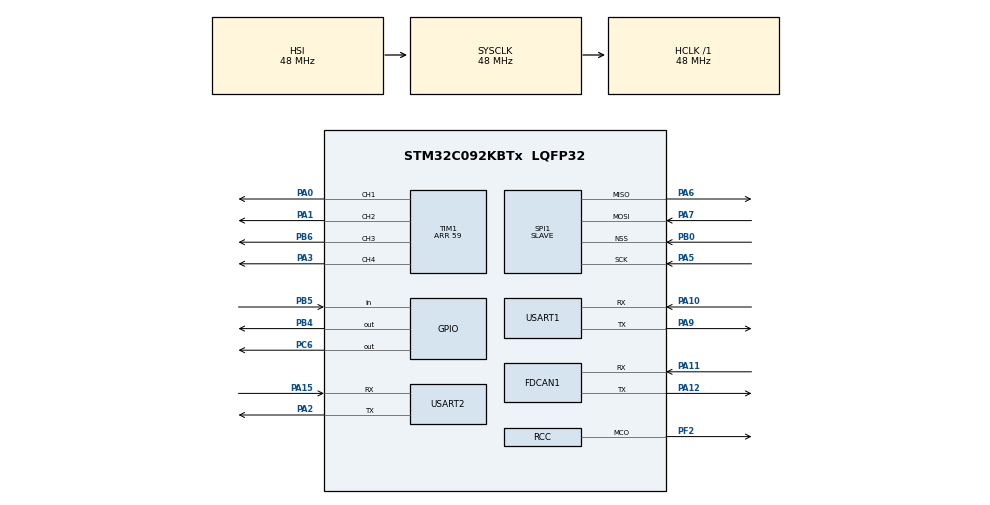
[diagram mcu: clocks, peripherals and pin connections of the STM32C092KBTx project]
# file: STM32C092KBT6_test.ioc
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Dma.Request0=TIM1_CH1
Dma.Request1=TIM1_CH2
Dma.Request2=TIM1_CH3
Dma.Request3=TIM1_CH4
Dma.Request4=TIM1_UP
Dma.TIM1_CH1.0.Direction=DMA_MEMORY_TO_PERIPH
Dma.TIM1_CH1.0.EventEnable=DISABLE
Dma.TIM1_CH1.0.Instance=DMA1_Channel1
Dma.TIM1_CH1.0.MemDataAlignment=DMA_MDATAALIGN_HALFWORD
Dma.TIM1_CH1.0.MemInc=DMA_MINC_ENABLE
Dma.TIM1_CH1.0.Mode=DMA_NORMAL
Dma.TIM1_CH1.0.PeriphDataAlignment=DMA_PDATAALIGN_HALFWORD
Dma.TIM1_CH1.0.PeriphInc=DMA_PINC_DISABLE
Dma.TIM1_CH1.0.Polarity=HAL_DMAMUX_REQ_GEN_RISING
Dma.TIM1_CH1.0.Priority=DMA_PRIORITY_HIGH
Dma.TIM1_CH1.0.RequestNumber=1
Dma.TIM1_CH1.0.SignalID=NONE
Dma.TIM1_CH1.0.SyncEnable=DISABLE
Dma.TIM1_CH1.0.SyncPolarity=HAL_DMAMUX_SYNC_NO_EVENT
Dma.TIM1_CH1.0.SyncRequestNumber=1
Dma.TIM1_CH1.0.SyncSignalID=NONE
Dma.TIM1_CH2.1.Direction=DMA_MEMORY_TO_PERIPH
Dma.TIM1_CH2.1.EventEnable=DISABLE
Dma.TIM1_CH2.1.Instance=DMA1_Channel2
Dma.TIM1_CH2.1.MemDataAlignment=DMA_MDATAALIGN_HALFWORD
Dma.TIM1_CH2.1.MemInc=DMA_MINC_ENABLE
Dma.TIM1_CH2.1.Mode=DMA_NORMAL
Dma.TIM1_CH2.1.PeriphDataAlignment=DMA_PDATAALIGN_HALFWORD
Dma.TIM1_CH2.1.PeriphInc=DMA_PINC_DISABLE
Dma.TIM1_CH2.1.Polarity=HAL_DMAMUX_REQ_GEN_RISING
Dma.TIM1_CH2.1.Priority=DMA_PRIORITY_HIGH
Dma.TIM1_CH2.1.RequestNumber=1
Dma.TIM1_CH2.1.SignalID=NONE
Dma.TIM1_CH2.1.SyncEnable=DISABLE
Dma.TIM1_CH2.1.SyncPolarity=HAL_DMAMUX_SYNC_NO_EVENT
Dma.TIM1_CH2.1.SyncRequestNumber=1
Dma.TIM1_CH2.1.SyncSignalID=NONE
Dma.TIM1_CH3.2.Direction=DMA_MEMORY_TO_PERIPH
Dma.TIM1_CH3.2.EventEnable=DISABLE
Dma.TIM1_CH3.2.Instance=DMA1_Channel3
Dma.TIM1_CH3.2.MemDataAlignment=DMA_MDATAALIGN_HALFWORD
Dma.TIM1_CH3.2.MemInc=DMA_MINC_ENABLE
Dma.TIM1_CH3.2.Mode=DMA_NORMAL
Dma.TIM1_CH3.2.PeriphDataAlignment=DMA_PDATAALIGN_HALFWORD
Dma.TIM1_CH3.2.PeriphInc=DMA_PINC_DISABLE
Dma.TIM1_CH3.2.Polarity=HAL_DMAMUX_REQ_GEN_RISING
Dma.TIM1_CH3.2.Priority=DMA_PRIORITY_HIGH
Dma.TIM1_CH3.2.RequestNumber=1
Dma.TIM1_CH3.2.SignalID=NONE
Dma.TIM1_CH3.2.SyncEnable=DISABLE
Dma.TIM1_CH3.2.SyncPolarity=HAL_DMAMUX_SYNC_NO_EVENT
Dma.TIM1_CH3.2.SyncRequestNumber=1
Dma.TIM1_CH3.2.SyncSignalID=NONE
Dma.TIM1_CH4.3.Direction=DMA_MEMORY_TO_PERIPH
Dma.TIM1_CH4.3.EventEnable=DISABLE
Dma.TIM1_CH4.3.Instance=DMA1_Channel4
Dma.TIM1_CH4.3.MemDataAlignment=DMA_MDATAALIGN_HALFWORD
Dma.TIM1_CH4.3.MemInc=DMA_MINC_ENABLE
Dma.TIM1_CH4.3.Mode=DMA_NORMAL
Dma.TIM1_CH4.3.PeriphDataAlignment=DMA_PDATAALIGN_HALFWORD
Dma.TIM1_CH4.3.PeriphInc=DMA_PINC_DISABLE
Dma.TIM1_CH4.3.Polarity=HAL_DMAMUX_REQ_GEN_RISING
Dma.TIM1_CH4.3.Priority=DMA_PRIORITY_HIGH
Dma.TIM1_CH4.3.RequestNumber=1
Dma.TIM1_CH4.3.SignalID=NONE
Dma.TIM1_CH4.3.SyncEnable=DISABLE
Dma.TIM1_CH4.3.SyncPolarity=HAL_DMAMUX_SYNC_NO_EVENT
Dma.TIM1_CH4.3.SyncRequestNumber=1
Dma.TIM1_CH4.3.SyncSignalID=NONE
Dma.TIM1_UP.4.Direction=DMA_MEMORY_TO_PERIPH
Dma.TIM1_UP.4.EventEnable=DISABLE
Dma.TIM1_UP.4.Instance=DMA1_Channel5
Dma.TIM1_UP.4.MemDataAlignment=DMA_MDATAALIGN_HALFWORD
Dma.TIM1_UP.4.MemInc=DMA_MINC_ENABLE
Dma.TIM1_UP.4.Mode=DMA_NORMAL
Dma.TIM1_UP.4.PeriphDataAlignment=DMA_PDATAALIGN_HALFWORD
Dma.TIM1_UP.4.PeriphInc=DMA_PINC_DISABLE
Dma.TIM1_UP.4.Polarity=HAL_DMAMUX_REQ_GEN_RISING
Dma.TIM1_UP.4.Priority=DMA_PRIORITY_HIGH
Dma.TIM1_UP.4.RequestNumber=1
Dma.TIM1_UP.4.SignalID=NONE
Dma.TIM1_UP.4.SyncEnable=DISABLE
Dma.TIM1_UP.4.SyncPolarity=HAL_DMAMUX_SYNC_NO_EVENT
Dma.TIM1_UP.4.SyncRequestNumber=1
Dma.TIM1_UP.4.SyncSignalID=NONE
FDCAN1.CalculateBaudRateNominal=1000000
FDCAN1.CalculateTimeQuantumNominal=333.3333333333333
Mcu.Family=STM32C0
Mcu.Name=STM32C092KBTx
Mcu.Package=LQFP32
NVIC.DMA1_Channel1_IRQn=true\:0\:0\:false\:false\:true\:false\:true\:true
NVIC.DMA1_Channel2_3_IRQn=true\:0\:0\:false\:false\:true\:false\:true\:true
NVIC.DMAMUX1_DMA1_CH4_5_6_7_IRQn=true\:0\:0\:false\:false\:true\:false\:true\:true
NVIC.TIM14_IRQn=true\:0\:0\:false\:false\:true\:true\:true\:true
NVIC.USART1_IRQn=true\:0\:0\:false\:false\:true\:true\:true\:true
NVIC.USART2_IRQn=true\:0\:0\:false\:false\:true\:true\:true\:true
PA0.Signal=S_TIM1_CH1
PA1.Signal=S_TIM1_CH2
PA10.Mode=Asynchronous
PA10.Signal=USART1_RX
PA11\ [PA9].Mode=FDCAN_Activate
PA11\ [PA9].Signal=FDCAN1_RX
PA12\ [PA10].Mode=FDCAN_Activate
PA12\ [PA10].Signal=FDCAN1_TX
PA13.Mode=Serial_Wire
PA13.Signal=DEBUG_SWDIO
PA14-BOOT0.Mode=Serial_Wire
PA14-BOOT0.Signal=DEBUG_SWCLK
PA15.Mode=Asynchronous
PA15.Signal=USART2_RX
PA2.Mode=Asynchronous
PA2.Signal=USART2_TX
PA3.Signal=S_TIM1_CH4
PA5.Mode=Full_Duplex_Slave
PA5.Signal=SPI1_SCK
PA6.Mode=Full_Duplex_Slave
PA6.Signal=SPI1_MISO
PA7.Mode=Full_Duplex_Slave
PA7.Signal=SPI1_MOSI
PA9.Mode=Asynchronous
PA9.Signal=USART1_TX
PB0.Mode=NSS_Signal_Hard_Input
PB0.Signal=SPI1_NSS
PB4.Signal=GPIO_Output
PB5.Signal=GPIO_Input
PB6.Signal=S_TIM1_CH3
PC14-OSCX_IN(PC14).Signal=RCC_OSCX_IN
PC15-OSCX_OUT(PC15).Signal=RCC_OSCX_OUT
PC6.Signal=GPIO_Output
PF2-NRST.Mode=Clock-out
PF2-NRST.Signal=RCC_MCO
ProjectManager.HeapSize=0x200
ProjectManager.StackSize=0x400
ProjectManager.TargetToolchain=CMake
RCC.ADCFreq_Value=48000000
RCC.AHBFreq_Value=48000000
RCC.CortexFreq_Value=48000000
RCC.EXTERNAL_CLOCK_VALUE=12288000
RCC.HCLKFreq_Value=48000000
RCC.HSE_VALUE=8000000
RCC.HSISYSCLKDivider=RCC_HSI_DIV1
RCC.HSI_VALUE=48000000
RCC.LSE_VALUE=32768
RCC.SYSCLKFreq_VALUE=48000000
SH.S_TIM1_CH1.0=TIM1_CH1,PWM Generation1 CH1
SH.S_TIM1_CH2.0=TIM1_CH2,PWM Generation2 CH2
SH.S_TIM1_CH3.0=TIM1_CH3,PWM Generation3 CH3
SH.S_TIM1_CH4.0=TIM1_CH4,PWM Generation4 CH4
SPI1.Direction=SPI_DIRECTION_2LINES
SPI1.Mode=SPI_MODE_SLAVE
SPI1.VirtualNSS=VM_NSSHARD
SPI1.VirtualType=VM_SLAVE
TIM1.AutoReloadPreload=TIM_AUTORELOAD_PRELOAD_DISABLE
TIM1.Channel-PWM\ Generation1\ CH1=TIM_CHANNEL_1
TIM1.Channel-PWM\ Generation2\ CH2=TIM_CHANNEL_2
TIM1.Channel-PWM\ Generation3\ CH3=TIM_CHANNEL_3
TIM1.Channel-PWM\ Generation4\ CH4=TIM_CHANNEL_4
TIM1.Period=59
TIM14.AutoReloadPreload=TIM_AUTORELOAD_PRELOAD_DISABLE
TIM14.Period=999
TIM14.Prescaler=47
USART1.VirtualMode-Asynchronous=VM_ASYNC
USART2.VirtualMode-Asynchronous=VM_ASYNC
VP_DMAMUX_VS_DMAMUX.Mode=DMAMUX_Activate
VP_TIM14_VS_ClockSourceINT.Mode=Enable_Timer
VP_TIM1_VS_ClockSourceINT.Mode=Internal
board=custom

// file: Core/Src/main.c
/* USER CODE BEGIN Header */
/**
  ******************************************************************************
  * @file           : main.c
  * @brief          : Main program body
  ******************************************************************************
  * @attention
  *
  * Copyright (c) 2026 STMicroelectronics.
  * All rights reserved.
  *
  * This software is licensed under terms that can be found in the LICENSE file
  * in the root directory of this software component.
  * If no LICENSE file comes with this software, it is provided AS-IS.
  *
  ******************************************************************************
  */
/* USER CODE END Header */
#include "main.h"
#include "dma.h"
#include "dmamux.h"
#include "fdcan.h"
#include "spi.h"
#include "tim.h"
#include "usart.h"
#include "gpio.h"

/* USER CODE BEGIN Includes */
#include <stdio.h>
#include "SPM_Modbus.h"
/* USER CODE END Includes */

/* USER CODE BEGIN PTD */
#define WS_ZERO   18
#define WS_ONE    34
/* USER CODE END PTD */

/* USER CODE BEGIN PD */
#define LED_MAX     32
#define RESET_SLOTS 120
#define WS_BITS     24
#define PWM_CH_COUNT 4
/* Keep TIM1 outputs low for 30 us before the first LED data slot. */
#define WS_START_GUARD_SLOTS WS_BITS
#define WS_SLOT_COUNT (LED_MAX * WS_BITS + WS_START_GUARD_SLOTS + RESET_SLOTS)
/* USER CODE END PD */

/* USER CODE BEGIN PV */
//デバイス定義
int16_t model_no = 51;
int16_t version = 1;
int16_t sub_version = 0;

//シリアルデータ
typedef struct {
  int16_t rx_len;
  uint8_t recv_data;
  uint8_t rx_buf[256];
  uint8_t tx_buf[256];
} SerialData;
SerialData serial1;
SerialData serial2;

//LED制御用変数
uint16_t pwmData[WS_SLOT_COUNT];
uint16_t pwmDmaBurstData[WS_SLOT_COUNT * PWM_CH_COUNT];
volatile uint8_t ws2812_send_requested = 0U;
//パターン点灯用変数
volatile int16_t ten_ms_timer = 0; // 10msごとのタイマー
int16_t pattern_step = 0; //パターン点灯のステップ数
uint8_t pattern_red = 0; // 徐々に赤の値
uint8_t pattern_green = 0; // 徐々に緑の値
uint8_t pattern_blue = 0; // 徐々に青の値
int8_t flame_variation[LED_MAX] = {0};
uint32_t flame_random_state = 0x13579BDFU;

//アプリケーション変数
int16_t dev_id=51; //デバイスID
//LEDのRGBデータ 1チャンネルで最大32個までのLEDを制御可能
//一つのLEDは8bit×24bitのデータが必要だが、レジスタは16bitなので、2つのレジスタに分けて格納する
// ledData[0] = LED1_R, LED1_G
// ledData[1] = LED1_B, LED2_R
// ledData[2] = LED2_G, LED2_B
// ...
int16_t ledData[48]; // LEDのRGBデータ
int16_t mode = 0; //動作モード　0:レジスタより点灯, 1:全LED同時点灯, 2~5:パターン点灯モード
int16_t brightness_lim = 16; //明るさの上限
int16_t led_num = 16; //LEDの数
int16_t safety_mode = 0; //セーフティモード… 0:無効, 1:有効　有効の時は強制的に赤に点灯
int16_t safety_flg = 0; //セーフティモード時の赤の明るさ
int16_t safety_r = 16; //セーフティモード時の赤の明るさ
int16_t enable_input = 0; //イネーブル信号入力

/* USER CODE END PV */

void SystemClock_Config(void);
/* USER CODE BEGIN PFP */
static HAL_StatusTypeDef WS2812_StartSend(void);
uint8_t limit_max(uint8_t value, uint8_t max);

/* USER CODE END PFP */

/* USER CODE BEGIN 0 */
void WS2812_SetLED(uint8_t led,uint8_t r,uint8_t g,uint8_t b)
{
    uint32_t color;

    r = limit_max(r, brightness_lim);
    g = limit_max(g, brightness_lim);
    b = limit_max(b, brightness_lim);

    color =
        ((uint32_t)g << 16) |
        ((uint32_t)r << 8 ) |
         b;

    int index = WS_START_GUARD_SLOTS + led * WS_BITS;

    for(int i=0;i<24;i++)
    {
        if(color & (1<<(23-i)))
            pwmData[index+i]=WS_ONE;
        else
            pwmData[index+i]=WS_ZERO;
    }
}

void WS2812_Reset(void)
{
    /* Keep the output low while TIM1 and its Update DMA settle. */
    for (int i = 0; i < WS_START_GUARD_SLOTS; i++)
    {
        pwmData[i] = 0;
    }

    int reset_start = WS_START_GUARD_SLOTS + led_num * WS_BITS;
    for(int i=reset_start;
        i<reset_start+RESET_SLOTS;
        i++)
    {
        pwmData[i]=0;
    }
}

static void WS2812_PrepareBurstData(uint16_t slot_count)
{
    for (uint16_t slot = 0; slot < slot_count; slot++)
    {
        uint16_t index = slot * PWM_CH_COUNT;
        uint16_t duty = pwmData[slot];

        pwmDmaBurstData[index + 0U] = duty;
        pwmDmaBurstData[index + 1U] = duty;
        pwmDmaBurstData[index + 2U] = duty;
        pwmDmaBurstData[index + 3U] = duty;
    }
}

static HAL_StatusTypeDef WS2812_StartSend(void)
{
    const uint16_t slot_count =
        (uint16_t)(WS_START_GUARD_SLOTS + led_num * WS_BITS + RESET_SLOTS);
    const uint32_t all_channels =
        TIM_CCER_CC1E | TIM_CCER_CC2E | TIM_CCER_CC3E | TIM_CCER_CC4E;

    if ((led_num < 1) || (led_num > LED_MAX))
    {
        return HAL_ERROR;
    }

    WS2812_Reset();
    WS2812_PrepareBurstData(slot_count);

    __HAL_TIM_DISABLE_DMA(&htim1, TIM_DMA_UPDATE);
    TIM1->CR1 &= ~TIM_CR1_CEN;
    TIM1->CCER &= ~all_channels;
    __HAL_TIM_MOE_DISABLE_UNCONDITIONALLY(&htim1);

    if (htim1.DMABurstState == HAL_DMA_BURST_STATE_BUSY)
    {
        if (HAL_TIM_DMABurst_WriteStop(&htim1, TIM_DMA_UPDATE) != HAL_OK)
        {
            return HAL_ERROR;
        }
    }

    __HAL_TIM_ENABLE_OCxPRELOAD(&htim1, TIM_CHANNEL_1);
    __HAL_TIM_ENABLE_OCxPRELOAD(&htim1, TIM_CHANNEL_2);
    __HAL_TIM_ENABLE_OCxPRELOAD(&htim1, TIM_CHANNEL_3);
    __HAL_TIM_ENABLE_OCxPRELOAD(&htim1, TIM_CHANNEL_4);

    __HAL_TIM_SET_COMPARE(&htim1, TIM_CHANNEL_1, pwmDmaBurstData[0]);
    __HAL_TIM_SET_COMPARE(&htim1, TIM_CHANNEL_2, pwmDmaBurstData[1]);
    __HAL_TIM_SET_COMPARE(&htim1, TIM_CHANNEL_3, pwmDmaBurstData[2]);
    __HAL_TIM_SET_COMPARE(&htim1, TIM_CHANNEL_4, pwmDmaBurstData[3]);
    if (HAL_TIM_GenerateEvent(&htim1, TIM_EVENTSOURCE_UPDATE) != HAL_OK)
    {
        return HAL_ERROR;
    }

    __HAL_TIM_SET_COMPARE(&htim1, TIM_CHANNEL_1, pwmDmaBurstData[4]);
    __HAL_TIM_SET_COMPARE(&htim1, TIM_CHANNEL_2, pwmDmaBurstData[5]);
    __HAL_TIM_SET_COMPARE(&htim1, TIM_CHANNEL_3, pwmDmaBurstData[6]);
    __HAL_TIM_SET_COMPARE(&htim1, TIM_CHANNEL_4, pwmDmaBurstData[7]);

    if (HAL_TIM_DMABurst_MultiWriteStart(
            &htim1,
            TIM_DMABASE_CCR1,
            TIM_DMA_UPDATE,
            (uint32_t *)&pwmDmaBurstData[2U * PWM_CH_COUNT],
            TIM_DMABURSTLENGTH_4TRANSFERS,
            (uint32_t)(slot_count - 2U) * PWM_CH_COUNT) != HAL_OK)
    {
        return HAL_ERROR;
    }

    __HAL_TIM_CLEAR_FLAG(&htim1, TIM_FLAG_UPDATE);
    TIM1->CNT = 0U;
    TIM1->CCER |= all_channels;
    __HAL_TIM_MOE_ENABLE(&htim1);
    __HAL_TIM_ENABLE(&htim1);

    return HAL_OK;
}

//LED明るさ制限
uint8_t limit_max(uint8_t value, uint8_t max)
{
    if(value > max)
        return max;
    return value;
}

static uint8_t flame_random(void)
{
    flame_random_state ^= flame_random_state << 13;
    flame_random_state ^= flame_random_state >> 17;
    flame_random_state ^= flame_random_state << 5;
    return (uint8_t)(flame_random_state & 0xFFU);
}

/* USER CODE END 0 */

int main(void)
{

  /* MCU Configuration--------------------------------------------------------*/

  /* Reset of all peripherals, Initializes the Flash interface and the Systick. */
  HAL_Init();

  /* Configure the system clock */
  SystemClock_Config();

  /* Initialize all configured peripherals */
  MX_GPIO_Init();
  MX_DMA_Init();
  MX_FDCAN1_Init();
  MX_USART1_UART_Init();
  MX_TIM1_Init();
  MX_SPI1_Init();
  MX_USART2_UART_Init();
  MX_TIM14_Init();
  MX_DMAMUX_Init();
  /* USER CODE BEGIN 2 */

  //各レジスタ初期化
  SPM_ModbusInit();
  //レジスタ登録
  p_input_regs[0] = &model_no;   //モデルナンバー
  p_input_regs[1] = &version; //バージョン
  p_input_regs[2] = &sub_version; //サブバージョン
  for(int i=3;i<51;i++)
  {
      p_input_regs[i] = &ledData[i-3];
  }
  p_input_regs[51] = &safety_flg;
  p_input_regs[52] = &enable_input;

  p_holding_regs[0] = &dev_id;
  for(int i=1;i<49;i++)
  {
      p_holding_regs[i] = &ledData[i-1];
  }
  p_holding_regs[49] = &mode;
  p_holding_regs[50] = &brightness_lim;
  p_holding_regs[51] = &led_num;
  p_holding_regs[52] = &safety_mode;
  p_holding_regs[53] = &safety_flg;
  p_holding_regs[54] = &safety_r;

  //Cyclic Function登録
  // cycfunc0.rx_len = 2;
  // cycfunc0.rx_adr[0] = &io_in;
  // cycfunc0.rx_adr[1] = &io_out;
  // cycfunc0.tx_len = 1;
  // cycfunc0.tx_adr[0] = &io_out;

  ParamLoad();
  SPM_ModbusSetAddress(dev_id);
  if ((led_num < 1) || (led_num > LED_MAX)) led_num = LED_MAX;

  HAL_UART_Receive_IT(&huart1, &serial1.recv_data, 1);
  HAL_UART_Receive_IT(&huart2, &serial2.recv_data, 1);

  HAL_TIM_Base_Start_IT(&htim14); // Start TIM14 for periodic interrupts
  HAL_GPIO_WritePin(GPIOB, GPIO_PIN_4, GPIO_PIN_RESET); // LED ON

  //ledData初期化
  for(int i=0;i<(int)(sizeof(ledData) / sizeof(ledData[0]));i++)
  {
      ledData[i] = 0;
  }

  /* NeoPixel data send first so CAN init errors do not mask LED bring-up */
  //すべてのLEDを白にセット
  for(int i=0;i<led_num;i++)
  {
      WS2812_SetLED(i,16,16,16); //白
  }

  if (WS2812_StartSend() != HAL_OK)
  {
    Error_Handler();
  }

  HAL_Delay(500); // 1秒待機

  //再度消灯
  for(int i=0;i<led_num;i++)
  {
      WS2812_SetLED(i,0,0,0); //消灯
  }
  if (WS2812_StartSend() != HAL_OK)
  {
    Error_Handler();
  }

  HAL_Delay(500); // 1秒待機

  //ledデータ初期化
  for(int i=0;i<led_num;i++)
  {
      WS2812_SetLED(i,0,0,0); //消灯
  }
  if (WS2812_StartSend() != HAL_OK)
  {
    Error_Handler();
  }

  //FDCAN1 filter configuration
  // FDCAN_FilterTypeDef sFilterConfig;
  // sFilterConfig.IdType = FDCAN_STANDARD_ID;
  // sFilterConfig.FilterIndex = 0;
  // sFilterConfig.FilterType = FDCAN_FILTER_MASK;
  // sFilterConfig.FilterConfig = FDCAN_FILTER_TO_RXFIFO0;
  // sFilterConfig.FilterID1 = 0x123; // Standard ID is configured as-is (no manual bit shift)
  // sFilterConfig.FilterID2 = 0x7FF; // Filter mask (accept all IDs)
  // if (HAL_FDCAN_ConfigFilter(&hfdcan1, &sFilterConfig) != HAL_OK)
  // {
  //   TxDataLength = sprintf((char*)TxData, "FDCAN Filter Configuration Error\r\n");
  //   HAL_UART_Transmit(&huart1, TxData, TxDataLength, HAL_MAX_DELAY);
  //   // Filter configuration Error
  //   Error_Handler();
  // }else{

  //   TxDataLength = sprintf((char*)TxData, "FDCAN Filter Configuration Success\r\n");
  //   HAL_UART_Transmit(&huart1, TxData, TxDataLength, HAL_MAX_DELAY);
  // }

  // // Start FDCAN module
  // if (HAL_FDCAN_Start(&hfdcan1) != HAL_OK)
  // {
  //   TxDataLength = sprintf((char*)TxData, "FDCAN Start Error\r\n");
  //   HAL_UART_Transmit(&huart1, TxData, TxDataLength, HAL_MAX_DELAY);
  //   // Start Error
  //   Error_Handler();
  // }else{
  //   TxDataLength = sprintf((char*)TxData, "FDCAN Start Success\r\n");
  //   HAL_UART_Transmit(&huart1, TxData, TxDataLength, HAL_MAX_DELAY);
  // }

  /* USER CODE END 2 */

  /* Infinite loop */
  /* USER CODE BEGIN WHILE */
  while (1)
  {
    // //FDCAN送信
    // FDCAN_TxHeaderTypeDef TxHeader = {0};
    // uint8_t CanTxData[8] = {0x01, 0x02, 0x03, 0x04, 0x05, 0x06, 0x07, counter++}; // 送信データ
    // TxHeader.Identifier = 0x143; // 送信するID
    // TxHeader.IdType = FDCAN_STANDARD_ID;
    // TxHeader.TxFrameType = FDCAN_DATA_FRAME;
    // TxHeader.DataLength = FDCAN_DLC_BYTES_8;
    // TxHeader.ErrorStateIndicator = FDCAN_ESI_ACTIVE;
    // TxHeader.BitRateSwitch = FDCAN_BRS_OFF;
    // TxHeader.FDFormat = FDCAN_CLASSIC_CAN;
    // TxHeader.TxEventFifoControl = FDCAN_NO_TX_EVENTS;
    // TxHeader.MessageMarker = 0;
    // if (HAL_FDCAN_AddMessageToTxFifoQ(&hfdcan1, &TxHeader, CanTxData) != HAL_OK)
    // {
    //   // Transmission request Error
    //   TxDataLength = sprintf((char*)TxData, "FDCAN Transmission Error\r\n");
    //   HAL_UART_Transmit(&huart1, TxData, TxDataLength, HAL_MAX_DELAY);
    //   Error_Handler();
    // }else{
    //   TxDataLength = sprintf((char*)TxData, "FDCAN Transmission Success\r\n");
    //   HAL_UART_Transmit(&huart1, TxData, TxDataLength, HAL_MAX_DELAY);
    // }

    //シリアル通信処理
		  if(serial1.rx_len>0){
			  HAL_Delay(10);
			  int16_t tx_len = SPM_ModbusTask(serial1.rx_buf, serial1.rx_len, serial1.tx_buf);
			  HAL_UART_Transmit_IT(&huart1, serial1.tx_buf, tx_len);
			  serial1.rx_len=0;
		  }

		  if(serial2.rx_len>0){
			  HAL_Delay(10);
			  int16_t tx_len = SPM_ModbusTask(serial2.rx_buf, serial2.rx_len, serial2.tx_buf);
			  HAL_UART_Transmit_IT(&huart2, serial2.tx_buf, tx_len);
			  serial2.rx_len=0;
		  }

    //イネーブル信号確認
    enable_input = HAL_GPIO_ReadPin(GPIOB, GPIO_PIN_5); // イネーブル信号の状態を読み取る
    if(enable_input==1)
    {
        // イネーブル信号が有効な場合の処理をここに記述
        safety_flg = 1; // 安全モードを有効にする
    }

    if(safety_mode && safety_flg)
    {
        // 安全モード時の処理をここに記述
        // 全LED赤に点灯
        for(int i=0;i<led_num;i++)
        {
          WS2812_SetLED(i,safety_r,0,0); // 赤
        }
    }else{
        // 安全モードでない場合の処理をここに記述
        switch(mode){
          case 0:
              // モード0…レジスタから点灯モード
              uint8_t r[32];
              uint8_t g[32];
              uint8_t b[32];
              int r_index = 0;
              int g_index = 0;
              int b_index = 0;
              for(int i=0;i<48;i++){
                  if(i%3==0){
                      r[r_index] = (uint8_t)(ledData[i] >> 8);
                      g[g_index] = (uint8_t)(ledData[i] & 0xFF);
                      r_index++;
                      g_index++;
                  }else if(i%3==1){
                      b[b_index] = (uint8_t)(ledData[i] >> 8);
                      r[r_index] = (uint8_t)(ledData[i] & 0xFF);
                      b_index++;
                      r_index++;
                  }else if(i%3==2){
                      g[g_index] = (uint8_t)(ledData[i] >> 8);
                      b[b_index] = (uint8_t)(ledData[i] & 0xFF);
                      g_index++;
                      b_index++;
                  }
              }
              //LEDの色をNeoPixelに送信
              for(int i=0;i<led_num;i++)
              {
                  WS2812_SetLED(i,r[i],g[i],b[i]);
              }
              break;
          case 1:
              // モード1…固定色点灯モード
              uint8_t fixed_r = ledData[0] >> 8;
              uint8_t fixed_g = ledData[0] & 0xFF;
              uint8_t fixed_b = ledData[1] >> 8;
              for(int i=0;i<led_num;i++)
              {
                  WS2812_SetLED(i,fixed_r,fixed_g,fixed_b);
              }
              break;
          case 2:
              // モード2…パターン点灯モード1
              // 全LEDを同じ色で点灯
              //赤→黄色→緑→シアン→青→マゼンタ→赤の順で点灯させるパターン
              //各色の切り替わりの時は徐々に明るさを変えるようにする
              switch(pattern_step){
                  case 0:
                      // 徐々にマゼンタから赤へ R=MAX G=0 B=DOWN
                      pattern_red = brightness_lim;
                      pattern_green = 0;
                      pattern_blue = (uint8_t)(brightness_lim * (100 - ten_ms_timer) / 100.0);
                      break;
                  case 1:
                      // 徐々に赤から黄色へ R=MAX G=UP B=0
                      pattern_red = brightness_lim;
                      pattern_green = (uint8_t)(brightness_lim * ten_ms_timer / 100.0);
                      pattern_blue = 0;
                      break;
                  case 2:
                      // 徐々に黄色から緑へ R=DOWN G=MAX B=0
                      pattern_red = (uint8_t)(brightness_lim * (100 - ten_ms_timer) / 100.0);
                      pattern_green = brightness_lim;
                      pattern_blue = 0;
                      break;
                  case 3:
                      // 徐々に緑からシアンへ R=0 G=MAX B=UP
                      pattern_red = 0;
                      pattern_green = brightness_lim;
                      pattern_blue = (uint8_t)(brightness_lim * ten_ms_timer / 100.0);
                      break;
                  case 4:
                      // 徐々にシアンから青へ R=0 G=DOWN B=MAX
                      pattern_red = 0;
                      pattern_green = (uint8_t)(brightness_lim * (100 - ten_ms_timer) / 100.0);
                      pattern_blue = brightness_lim;
                      break;
                  case 5:
                      // 徐々に青からマゼンタへ R=UP G=0 B=MAX
                      pattern_red = (uint8_t)(brightness_lim * ten_ms_timer / 100.0);
                      pattern_green = 0;
                      pattern_blue = brightness_lim;
                      break;
                  default:
                      break;
              }
              for(int i=0;i<led_num;i++)
              {
                WS2812_SetLED(i,pattern_red,pattern_green,pattern_blue);
              }
              if(ten_ms_timer >= 100){
                  ten_ms_timer = 0;
                  pattern_step++;
                  if(pattern_step > 5) pattern_step = 0;
              }
              break;
          case 3:
              // モード3…パターン点灯モード2
              // ひとつだけ点灯する
              // 100msごとに点灯するLEDを切り替える
              //位置によって点灯するLEDの色を変える
              for(int i=0;i<led_num;i++)
              {
                  if(i == pattern_step) {
                      //赤は最初初期位置が最大、徐々に減少させる
                      uint8_t color_red = 0;
                      //緑は真ん中で最大になるように設定
                      uint8_t color_green = 0;
                      //青は最初初期位置が0、徐々に増加させる
                      uint8_t color_blue = 0;
                      if (led_num > 1)
                      {
                        float center = (led_num - 1) / 2.0f;
                        if (i <= center)
                        {
                          float position = i / center;
                          color_red = (uint8_t)(brightness_lim * (1.0f - position));
                          color_green = (uint8_t)(brightness_lim * position);
                        }
                        else
                        {
                          float position = (i - center) / center;
                          color_green = (uint8_t)(brightness_lim * (1.0f - position));
                          color_blue = (uint8_t)(brightness_lim * position);
                        }
                      }
                      WS2812_SetLED(i,color_red,color_green,color_blue); // シアン
                  } else {
                      WS2812_SetLED(i,0,0,0); // 消灯
                  }
              }
              if(ten_ms_timer >= 10){
                  ten_ms_timer = 0;
                  pattern_step++;
                  if(pattern_step >= led_num) pattern_step = 0;
              }
              break;
          case 4:
              // モード4…パターン点灯モード3
              // 炎をイメージした点灯パターン
              // 暖色系で炎のような色合いを表現する
              // ledの位置によって色を変えることで炎の揺らぎを表現する
              // 位置が小さいほど温度が高く、上に行くほど温度が低くなるように色を設定する
              //100msごとにランダムにわずかに色を変化させ揺らぎを表現する
                if (ten_ms_timer >= 10)
                {
                  ten_ms_timer = 0;
                  for (int i = 0; i < LED_MAX; i++)
                  {
                    flame_variation[i] = (int8_t)(flame_random() % 13U) - 6;
                  }
                }

                int flame_leds = led_num;
                if (flame_leds > LED_MAX)
                {
                  flame_leds = LED_MAX;
                }
                for (int i = 0; i < flame_leds; i++)
                {
                  float position = flame_leds > 1
                    ? i / (float)(flame_leds - 1)
                    : 0.0f;
                  int16_t red = brightness_lim + flame_variation[i];
                  int16_t green = (int16_t)(brightness_lim *
                    (0.85f - 0.70f * position)) + flame_variation[i];

                  if (red < 0) red = 0;
                  if (green < 0) green = 0;

                  WS2812_SetLED(i, (uint8_t)red, (uint8_t)green, 0);
                }
              break;
          case 5:
              // モード5…パターン点灯モード4
              // 青い炎をイメージした点灯パターン
              // 寒色系で炎のような色合いを表現する
              // ledの位置によって色を変えることで炎の揺らぎを表現する
              // 位置が小さいほど温度が高く、上に行くほど温度が低くなるように色を設定する
              //100msごとにランダムにわずかに色を変化させ揺らぎを表現する
              {
                if (ten_ms_timer >= 10)
                {
                  ten_ms_timer = 0;
                  for (int i = 0; i < LED_MAX; i++)
                  {
                    flame_variation[i] = (int8_t)(flame_random() % 13U) - 6;
                  }
                }

                int flame_leds = led_num;
                if (flame_leds > LED_MAX)
                {
                  flame_leds = LED_MAX;
                }
                for (int i = 0; i < flame_leds; i++)
                {
                  float position = flame_leds > 1
                    ? i / (float)(flame_leds - 1)
                    : 0.0f;
                  int16_t red = (int16_t)(brightness_lim *
                    (0.15f - 0.15f * position)) + flame_variation[i];
                  int16_t green = (int16_t)(brightness_lim *
                    (0.80f - 0.60f * position)) + flame_variation[i];
                  int16_t blue = brightness_lim + flame_variation[i];

                  if (red < 0) red = 0;
                  if (green < 0) green = 0;
                  if (blue < 0) blue = 0;

                  WS2812_SetLED(i, (uint8_t)red, (uint8_t)green,
                    (uint8_t)blue);
                }
              break;
              }
          default:
              // その他のモードの処理をここに記述

              break;
        }
    }

    if (ws2812_send_requested != 0U)
    {
        ws2812_send_requested = 0U;
        if (WS2812_StartSend() != HAL_OK)
        {
            Error_Handler();
        }
    }
    /* USER CODE END WHILE */

  }
}

void SystemClock_Config(void)
{
  RCC_OscInitTypeDef RCC_OscInitStruct = {0};
  RCC_ClkInitTypeDef RCC_ClkInitStruct = {0};

  __HAL_FLASH_SET_LATENCY(FLASH_LATENCY_1);

  /** Initializes the RCC Oscillators according to the specified parameters
  * in the RCC_OscInitTypeDef structure.
  */
  RCC_OscInitStruct.OscillatorType = RCC_OSCILLATORTYPE_HSI;
  RCC_OscInitStruct.HSIState = RCC_HSI_ON;
  RCC_OscInitStruct.HSIDiv = RCC_HSI_DIV1;
  RCC_OscInitStruct.HSICalibrationValue = RCC_HSICALIBRATION_DEFAULT;
  if (HAL_RCC_OscConfig(&RCC_OscInitStruct) != HAL_OK)
  {
    Error_Handler();
  }

  /** Initializes the CPU, AHB and APB buses clocks
  */
  RCC_ClkInitStruct.ClockType = RCC_CLOCKTYPE_HCLK|RCC_CLOCKTYPE_SYSCLK
                              |RCC_CLOCKTYPE_PCLK1;
  RCC_ClkInitStruct.SYSCLKSource = RCC_SYSCLKSOURCE_HSI;
  RCC_ClkInitStruct.SYSCLKDivider = RCC_SYSCLK_DIV1;
  RCC_ClkInitStruct.AHBCLKDivider = RCC_HCLK_DIV1;
  RCC_ClkInitStruct.APB1CLKDivider = RCC_APB1_DIV1;

  if (HAL_RCC_ClockConfig(&RCC_ClkInitStruct, FLASH_LATENCY_1) != HAL_OK)
  {
    Error_Handler();
  }
  HAL_RCC_MCOConfig(RCC_MCO1, RCC_MCO1SOURCE_SYSCLK, RCC_MCODIV_1);
}

/* USER CODE BEGIN 4 */
volatile int timer_1s = 0; // タイマーカウンタ
volatile int timer_10ms = 0; // タイマーカウンタ
volatile int led_state[4] = {0,0,0,0}; // タイマーカウンタ
void HAL_TIM_PeriodElapsedCallback(TIM_HandleTypeDef *htim)
{
    if (htim->Instance == TIM1)
    {
        __HAL_TIM_DISABLE_DMA(&htim1, TIM_DMA_UPDATE);
        htim1.DMABurstState = HAL_DMA_BURST_STATE_READY;
        return;
    }

    if(htim->Instance==TIM14)
    {
        timer_1s++;
        if(timer_1s>=1000)
        {
            timer_1s=0;
            HAL_GPIO_TogglePin(GPIOC, GPIO_PIN_6); // Toggle LED to indicate 1 second elapsed
        }
        timer_10ms++;
        if(timer_10ms>=10)
        {
            timer_10ms=0;
            ten_ms_timer++;
            switch(led_state[0])
            {
                case 0:
                    led_state[0] = 1;
                    ws2812_send_requested = 1U;
                    break;
                case 1:
                    led_state[0] = 2;
                    break;
                case 2:
                    led_state[0] = 3;
                    break;
                case 3:
                    led_state[0] = 0;
                    break;
                default:
                    led_state[0] = 0;
                    break;
            }
        }
    }
}

void HAL_UART_RxCpltCallback(UART_HandleTypeDef *huart)
{
   if (huart->Instance == USART1)
   {
	   serial1.rx_buf[serial1.rx_len] = serial1.recv_data;
	   serial1.rx_len++;
       HAL_UART_Receive_IT(&huart1, &serial1.recv_data, 1);
   }else if (huart->Instance == USART2)
   {
	   serial2.rx_buf[serial2.rx_len] = serial2.recv_data;
	   serial2.rx_len++;
       HAL_UART_Receive_IT(&huart2, &serial2.recv_data, 1);
   }
}
/* USER CODE END 4 */

void Error_Handler(void)
{
  /* USER CODE BEGIN Error_Handler_Debug */
  while(1)
  {
    HAL_GPIO_TogglePin(GPIOB, GPIO_PIN_4); // Toggle LED to indicate error
    HAL_Delay(100); // 0.1秒待機
  }
  /* User can add his own implementation to report the HAL error return state */
  __disable_irq();
  while (1)
  {
  }
  /* USER CODE END Error_Handler_Debug */
}
